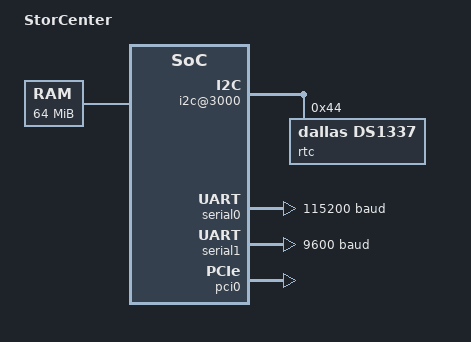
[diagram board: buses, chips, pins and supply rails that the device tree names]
/*
 * Device Tree Source for IOMEGA StorCenter
 *
 * Copyright 2007 Oyvind Repvik
 * Copyright 2007 Jon Loeliger
 *
 * Based on the Kurobox DTS by G. Liakhovetski <g.liakhovetski@gmx.de>
 *
 * This file is licensed under the terms of the GNU General Public
 * License version 2.  This program is licensed "as is" without any
 * warranty of any kind, whether express or implied.
 */

/dts-v1/;

/ {
	model = "StorCenter";
	compatible = "storcenter";
	#address-cells = <1>;
	#size-cells = <1>;

	aliases {
		serial0 = &serial0;
		serial1 = &serial1;
		pci0 = &pci0;
	};

	cpus {
		#address-cells = <1>;
		#size-cells = <0>;

		PowerPC,8241@0 {
			device_type = "cpu";
			reg = <0>;
			clock-frequency = <200000000>;
			timebase-frequency = <25000000>;
			bus-frequency = <0>;	/* from bootwrapper */
			i-cache-line-size = <32>;
			d-cache-line-size = <32>;
			i-cache-size = <16384>;
			d-cache-size = <16384>;
		};
	};

	memory {
		device_type = "memory";
		reg = <0x00000000 0x04000000>;	/* 64MB @ 0x0 */
	};

	soc@fc000000 {
		#address-cells = <1>;
		#size-cells = <1>;
		device_type = "soc";
		compatible = "fsl,mpc8241", "mpc10x";
		store-gathering = <0>; /* 0 == off, !0 == on */
		ranges = <0x0 0xfc000000 0x100000>;
		reg = <0xfc000000 0x100000>;	/* EUMB */
		bus-frequency = <0>;		/* fixed by loader */

		i2c@3000 {
			#address-cells = <1>;
			#size-cells = <0>;
			compatible = "fsl-i2c";
			reg = <0x3000 0x100>;
			interrupts = <5 2>;
			interrupt-parent = <&mpic>;

			rtc@68 {
				compatible = "dallas,ds1337";
				reg = <68>;
			};
		};

		serial0: serial@4500 {
			cell-index = <0>;
			device_type = "serial";
			compatible = "ns16550";
			reg = <0x4500 0x20>;
			clock-frequency = <97553800>; /* Hz */
			current-speed = <115200>;
			interrupts = <9 2>;
			interrupt-parent = <&mpic>;
		};

		serial1: serial@4600 {
			cell-index = <1>;
			device_type = "serial";
			compatible = "ns16550";
			reg = <0x4600 0x20>;
			clock-frequency = <97553800>; /* Hz */
			current-speed = <9600>;
			interrupts = <10 2>;
			interrupt-parent = <&mpic>;
		};

		mpic: interrupt-controller@40000 {
			#interrupt-cells = <2>;
			device_type = "open-pic";
			compatible = "chrp,open-pic";
			interrupt-controller;
			reg = <0x40000 0x40000>;
		};

	};

	pci0: pci@fe800000 {
		#address-cells = <3>;
		#size-cells = <2>;
		#interrupt-cells = <1>;
		device_type = "pci";
		compatible = "mpc10x-pci";
		reg = <0xfe800000 0x1000>;
		ranges = <0x01000000 0x0        0x0 0xfe000000 0x0 0x00c00000
			  0x02000000 0x0 0x80000000 0x80000000 0x0 0x70000000>;
		bus-range = <0 0xff>;
		clock-frequency = <97553800>;
		interrupt-parent = <&mpic>;
		interrupt-map-mask = <0xf800 0 0 7>;
		interrupt-map = <
			/* IDSEL 13 - IDE */
			0x6800 0 0 1 &mpic 0 1
			0x6800 0 0 2 &mpic 0 1
			0x6800 0 0 3 &mpic 0 1
			0x6800 0 0 4 &mpic 0 1
			/* IDSEL 14 - USB */
			0x7000 0 0 1 &mpic 0 1
			0x7000 0 0 2 &mpic 0 1
			0x7000 0 0 3 &mpic 0 1
			0x7000 0 0 4 &mpic 0 1
			/* IDSEL 15 - ETH */
			0x7800 0 0 1 &mpic 0 1
			0x7800 0 0 2 &mpic 0 1
			0x7800 0 0 3 &mpic 0 1
			0x7800 0 0 4 &mpic 0 1
		>;
	};

	chosen {
		linux,stdout-path = "/soc/serial@4500";
	};
};
